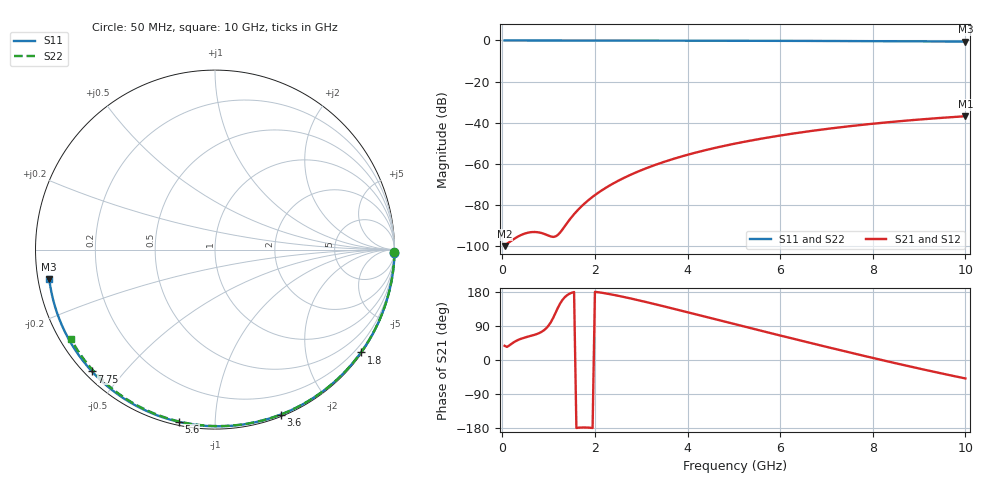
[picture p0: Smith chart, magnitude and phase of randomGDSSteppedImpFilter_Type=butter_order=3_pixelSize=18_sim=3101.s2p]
! freq	dB(S11)	phase(S11)	dB(S12)	phase(S12)
!  dB(S21)	phase(S21)	dB(S22)	phase(S22)
!S-par simulation data
#  GHz  S  DB  R 50
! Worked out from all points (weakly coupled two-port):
!   200 points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, 50 MHz to 10 GHz, reference 50 ohm
!   highest |S21| = -36.85 dB at 10 GHz (marker M1); lowest = -100.1 dB at 50 MHz (marker M2)
!   lowest |S11| = -0.6 dB at 10 GHz (marker M3), VSWR 31.21, Z = 1.61 - j4.37 ohm
!   |S11| at or under -10 dB: nowhere
!   |S22| runs from -0.5 to 0.0 dB; largest |S21 - S12| = 0
!   S11 on the Smith chart (normalised r, x): 50 MHz: open; 1.8 GHz: 0.03, -3.16; 3.6 GHz: 0.02, -1.48; 5.6 GHz: 0.02, -0.81; 7.75 GHz: 0.02, -0.41; 10 GHz: 0.03, -0.09
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0.05  -0.00 -1.0  -100.06 37.5  -100.06 37.5  -0.00 -0.9
0.45  -0.01 -8.9  -94.21 57.9  -94.21 57.9  -0.01 -7.7
0.85  -0.02 -16.8  -93.69 74.5  -93.69 74.5  -0.02 -14.5
1.3  -0.03 -25.6  -91.90 158.7  -91.90 158.7  -0.03 -22.1
1.75  -0.04 -34.2  -79.83 -178.0  -79.83 -178.0  -0.04 -29.6
1.8  -0.04 -35.2  -78.82 -178.1  -78.82 -178.1  -0.04 -30.4
1.95  -0.05 -38.0  -76.06 -179.4  -76.06 -179.4  -0.04 -32.9
2.1  -0.05 -40.8  -73.63 178.3  -73.63 178.3  -0.04 -35.3
2.3  -0.06 -44.6  -70.79 174.3  -70.79 174.3  -0.05 -38.6
2.5  -0.06 -48.3  -68.29 169.5  -68.29 169.5  -0.05 -41.8
2.9  -0.07 -55.7  -64.05 158.8  -64.05 158.8  -0.06 -48.2
3.4  -0.09 -64.7  -59.76 144.3  -59.76 144.3  -0.07 -56.1
3.6  -0.09 -68.2  -58.27 138.3  -58.27 138.3  -0.08 -59.2
4.3  -0.11 -80.3  -53.84 116.8  -53.84 116.8  -0.10 -69.9
5.05  -0.14 -92.9  -50.06 93.7  -50.06 93.7  -0.12 -81.0
5.6  -0.17 -101.8  -47.74 76.8  -47.74 76.8  -0.15 -88.9
6.15  -0.20 -110.6  -45.72 60.1  -45.72 60.1  -0.17 -96.6
6.7  -0.23 -119.2  -43.94 43.6  -43.94 43.6  -0.20 -104.2
7.75  -0.31 -135.3  -41.09 12.7  -41.09 12.7  -0.27 -118.3
8.35  -0.37 -144.4  -39.74 -4.5  -39.74 -4.5  -0.32 -126.2
9.2  -0.46 -157.5  -38.12 -27.9  -38.12 -27.9  -0.40 -137.5
10  -0.56 -170.0  -36.85 -48.7  -36.85 -48.7  -0.50 -148.3
